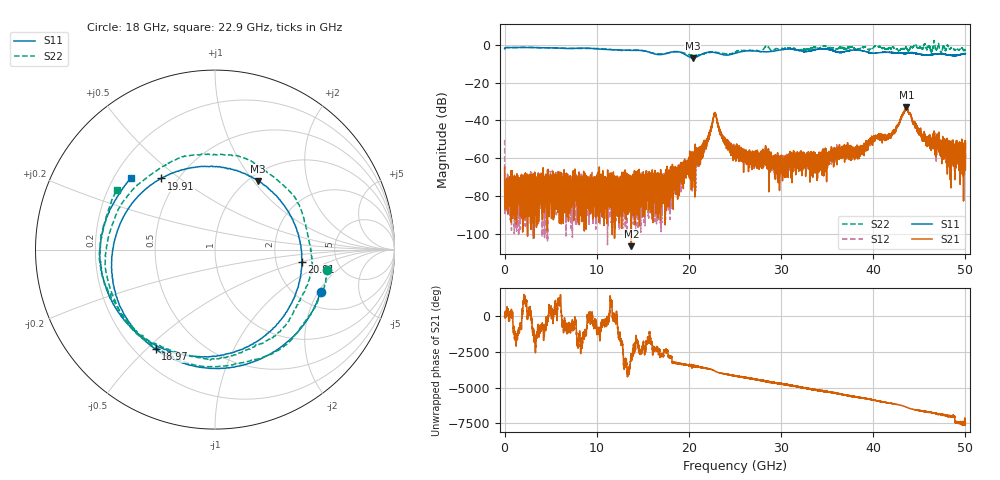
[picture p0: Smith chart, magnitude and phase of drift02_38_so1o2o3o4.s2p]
!Created with skrf (http://scikit-rf.org).
# Hz S RI R 50.0
!freq ReS11 ImS11 ReS21 ImS21 ReS12 ImS12 ReS22 ImS22
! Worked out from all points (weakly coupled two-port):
!   10001 points, 300 kHz to 50 GHz, reference 50 ohm
!   highest |S21| = -33.01 dB at 43.59 GHz (marker M1); lowest = -106.6 dB at 13.75 GHz (marker M2)
!   lowest |S11| = -6.9 dB at 20.41 GHz (marker M3), VSWR 2.63, Z = 54.8 + j52.5 ohm
!   |S11| at or under -10 dB: nowhere
!   |S22| runs from -5.7 to 2.3 dB; largest |S21 - S12| = 0.0033
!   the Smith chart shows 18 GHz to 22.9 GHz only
!   S11 on the Smith chart (normalised r, x): 18 GHz: 2.68, -2.09; 18.97 GHz: 0.28, -0.53; 19.91 GHz: 0.41, +0.43; 20.91 GHz: 2.80, -0.49; 22.9 GHz: 0.27, +0.35
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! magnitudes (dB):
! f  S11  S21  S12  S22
! 300 kHz  -2.1  -64.9  -50.3  -2.1
! 275.3 MHz  -1.4  -72.4  -76.4  -1.4
! 8.335 GHz  -1.7  -79.7  -79.9  -1.9
! 13.75 GHz  -2.9  -106.6  -72.7  -2.8
! 16.67 GHz  -5.2  -84.2  -73.9  -4.7
! 18 GHz  -4.0  -76.0  -70.0  -4.0
! 18.97 GHz  -3.8  -67.5  -68.6  -3.9
! 19.91 GHz  -6.1  -63.9  -62.8  -5.2
! 20.41 GHz  -6.9  -67.2  -60.0  -5.4
! 20.91 GHz  -6.2  -60.2  -64.3  -5.6
! 21.91 GHz  -4.1  -50.4  -51.8  -4.3
! 22.9 GHz  -4.2  -37.0  -36.9  -3.9
! 23.81 GHz  -5.4  -50.1  -49.8  -4.6
! 25 GHz  -4.5  -57.2  -54.8  -3.9
! 29.59 GHz  -3.0  -62.0  -61.4  -2.1
! 33.34 GHz  -3.0  -58.0  -63.6  -1.6
! 38.21 GHz  -2.8  -55.9  -56.2  -2.3
! 41.67 GHz  -4.0  -48.7  -47.6  -1.9
! 43.59 GHz  -4.6  -33.0  -33.6  -1.8
! 45.65 GHz  -5.4  -48.2  -49.7  -0.1
! 48.66 GHz  -5.6  -62.0  -54.7  -1.7
! 50 GHz  -4.7  -52.1  -59.8  -2.7
